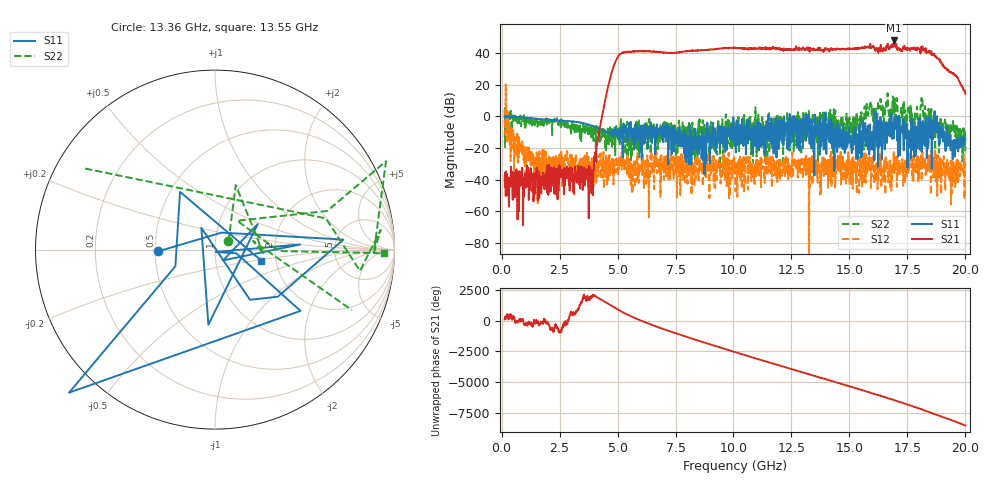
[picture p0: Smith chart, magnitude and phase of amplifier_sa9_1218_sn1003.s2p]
!Created with skrf (http://scikit-rf.org).
# GHz S RI R 50.0
!freq ReS11 ImS11 ReS21 ImS21 ReS12 ImS12 ReS22 ImS22
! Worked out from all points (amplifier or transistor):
!   1601 points, 130 MHz to 20 GHz, reference 50 ohm
!   highest |S21| = 48.0 dB at 16.92 GHz (marker M1)
!   |S21| within 3 dB of that: 16.93271 GHz to 16.98584 GHz (53.13 MHz wide, 0.313 % of centre)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
!   unconditionally stable (mu >= 1): 816.5 MHz to 948.6 MHz; 965.2 MHz to 4.645 GHz; 19.63 GHz to end of sweep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
!   at 3.433 GHz: K = 1368.58, MAG = -33.0 dB, |S12| = -38.0 dB
!   at 10.06 GHz: K = 2.68, MSG = 36.3 dB, |S12| = -29.2 dB
!   at 20 GHz: K = 3.50, MAG = 14.5 dB, |S12| = -31.4 dB
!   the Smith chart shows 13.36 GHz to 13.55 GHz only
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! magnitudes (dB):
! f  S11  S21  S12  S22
! 130 MHz  -0.6  -37.8  3.5  4.4
! 452.9 MHz  -0.1  -35.2  -11.2  -0.4
! 1.049 GHz  -0.8  -37.6  -23.7  -5.0
! 3.446 GHz  -4.0  -31.5  -28.1  -9.9
! 3.856 GHz  -5.7  -44.0  -33.7  -13.1
! 4.539 GHz  -9.8  15.4  -33.2  -11.9
! 5.011 GHz  -9.8  37.5  -28.6  -8.0
! 6.762 GHz  -7.9  40.6  -29.9  -13.4
! 8.724 GHz  -23.0  41.9  -28.8  -10.5
! 10.06 GHz  -15.2  43.4  -29.2  -16.1
! 13.38 GHz  -2.9  42.6  -26.5  -11.3
! 15.45 GHz  -10.9  43.0  -34.1  -0.1
! 15.84 GHz  -5.6  43.4  -33.7  3.1
! 16.1 GHz  -2.5  42.6  -33.1  0.1
! 16.32 GHz  -4.3  41.1  -23.8  8.4
! 16.7 GHz  -3.3  42.5  -33.0  1.9
! 16.92 GHz  -9.8  48.0  -31.5  7.0
! 17.18 GHz  -24.7  42.3  -36.3  -12.0
! 17.86 GHz  -6.4  42.6  -27.1  -0.5
! 18.16 GHz  -3.1  43.2  -29.6  5.5
! 18.6 GHz  -14.1  39.0  -26.9  -11.1
! 20 GHz  -14.6  14.3  -31.4  -22.1
